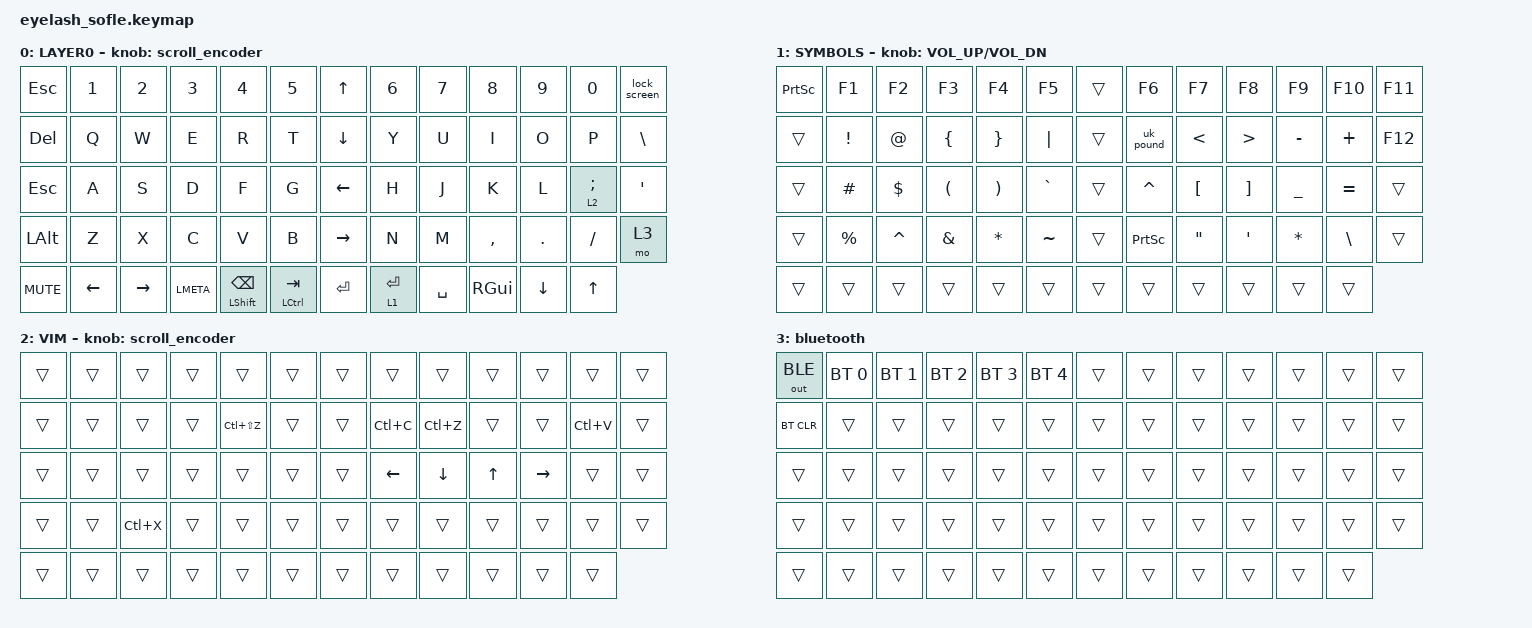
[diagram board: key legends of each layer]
#define ZMK_POINTING_DEFAULT_MOVE_VAL 1200  // 600
#define ZMK_POINTING_DEFAULT_SCRL_VAL 25   // 10

#include <input/processors.dtsi>
#include <zephyr/dt-bindings/input/input-event-codes.h>
#include <behaviors.dtsi>
#include <dt-bindings/zmk/bt.h>
#include <dt-bindings/zmk/keys.h>
#include <dt-bindings/zmk/outputs.h>
#include <dt-bindings/zmk/pointing.h>

&mmv_input_listener { input-processors = <&zip_xy_scaler 2 1>; };

&msc_input_listener { input-processors = <&zip_scroll_scaler 2 1>; };

&msc {
    acceleration-exponent = <1>;      // 0
    time-to-max-speed-ms = <100>;       // 300
    delay-ms = <0>;                   // 0
};

&mmv {
    time-to-max-speed-ms = <500>;
    acceleration-exponent = <1>;
    trigger-period-ms = <16>;
};

&soft_off { hold-time-ms = <2000>; };

&mt {
    quick-tap-ms = <300>;
    flavor = "tap-preferred";
};

/ {
    scroll_encoder: scroll_encoder {
        compatible = "zmk,behavior-sensor-rotate";
        #sensor-binding-cells = <0>;
        bindings = <&msc SCRL_DOWN>, <&msc SCRL_UP>;

        tap-ms = <100>;
    };

    behaviors {
    };

    combos {
        compatible = "zmk,combos";

        softoff {
            bindings = <&soft_off>;
            key-positions = <14 28 40>;
        };

        bootloader_left {
            bindings = <&bootloader>;
            key-positions = <53 39>;
        };

        bootloader_right {
            bindings = <&bootloader>;
            key-positions = <51 63>;
        };
    };

    macros {
        SHIFT_MCLK: SHIFT_MCLK {
            compatible = "zmk,behavior-macro";
            #binding-cells = <0>;
            bindings =
                <&macro_press>,
                <&kp LEFT_SHIFT>,
                <&macro_press>,
                <&mkp MB3>,
                <&macro_pause_for_release>,
                <&macro_release>,
                <&kp LEFT_SHIFT &mkp MB3>;

            label = "SHIFT_MCLK";
        };

        lock_screen: lock_screen {
            compatible = "zmk,behavior-macro";
            #binding-cells = <0>;
            bindings = <&kp LC(LA(L))>;
            label = "LOCK_SCREEN";
        };

        uk_pound: uk_pound {
            compatible = "zmk,behavior-macro";
            #binding-cells = <0>;
            bindings = <&kp LS(LC(U)) &kp N0 &kp N0 &kp A &kp N3 &kp ENTER>;
            label = "UK_POUND";
        };
    };

    keymap {
        compatible = "zmk,keymap";

        layer0 {
            bindings = <
&kp ESC       &kp N1    &kp N2     &kp N3     &kp N4                    &kp N5           &kp UP_ARROW     &kp N6       &kp N7     &kp N8         &kp N9    &kp N0           &lock_screen
&kp DELETE    &kp Q     &kp W      &kp E      &kp R                     &kp T            &kp DOWN_ARROW   &kp Y        &kp U      &kp I          &kp O     &kp P            &kp BSLH
&kp ESCAPE    &kp A     &kp S      &kp D      &kp F                     &kp G            &kp LEFT_ARROW   &kp H        &kp J      &kp K          &kp L     &lt 2 SEMICOLON  &kp APOS
&kp LEFT_ALT  &kp Z     &kp X      &kp C      &kp V                     &kp B            &kp RIGHT_ARROW  &kp N        &kp M      &kp COMMA      &kp DOT   &kp FSLH         &mo 3
&kp C_MUTE    &kp LEFT  &kp RIGHT  &kp LMETA  &mt LEFT_SHIFT BACKSPACE  &mt LCTRL TAB    &kp ENTER        &lt 1 ENTER  &kp SPACE  &kp RIGHT_GUI  &kp DOWN  &kp UP_ARROW
            >;

            sensor-bindings = <&scroll_encoder>;
            display-name = "LAYER0";
        };

        Symbols {
            bindings = <
&kp PRINTSCREEN  &kp F1       &kp F2       &kp F3                &kp F4                 &kp F5       &trans  &kp F6           &kp F7             &kp F8             &kp F9          &kp F10        &kp F11
&trans           &kp EXCL     &kp AT_SIGN  &kp LEFT_BRACE        &kp RIGHT_BRACE        &kp PIPE     &trans  &uk_pound        &kp LESS_THAN      &kp GREATER_THAN   &kp MINUS       &kp PLUS       &kp F12
&trans           &kp POUND    &kp DLLR     &kp LEFT_PARENTHESIS  &kp RIGHT_PARENTHESIS  &kp GRAVE    &trans  &kp CARET        &kp LEFT_BRACKET   &kp RIGHT_BRACKET  &kp UNDERSCORE  &kp EQUAL      &trans
&trans           &kp PERCENT  &kp CARET    &kp AMPERSAND         &kp ASTERISK           &kp TILDE    &trans  &kp PRINTSCREEN  &kp DOUBLE_QUOTES  &kp SQT            &kp ASTERISK    &kp BACKSLASH  &trans
&trans           &trans       &trans       &trans                &trans                 &trans       &trans  &trans           &trans             &trans             &trans          &trans
            >;

            display-name = "SYMBOLS";
            sensor-bindings = <&inc_dec_kp C_VOLUME_UP C_VOL_DN>;
        };

        VIM {
            bindings = <
&trans  &trans  &trans     &trans  &trans         &trans    &trans  &trans     &trans     &trans  &trans     &trans     &trans
&trans  &trans  &trans     &trans  &kp LC(LS(Z))  &trans    &trans  &kp LC(C)  &kp LC(Z)  &trans  &trans     &kp LC(V)  &trans
&trans  &trans  &trans     &trans  &trans         &trans    &trans  &kp LEFT   &kp DOWN   &kp UP  &kp RIGHT  &trans     &trans
&trans  &trans  &kp LC(X)  &trans  &trans         &trans    &trans  &trans     &trans     &trans  &trans     &trans     &trans
&trans  &trans  &trans     &trans  &trans         &trans    &trans  &trans     &trans     &trans  &trans     &trans
            >;

            display-name = "VIM";
            sensor-bindings = <&scroll_encoder>;
        };

        Bluetooth {
            bindings = <
&out OUT_BLE  &bt BT_SEL 0  &bt BT_SEL 1  &bt BT_SEL 2  &bt BT_SEL 3  &bt BT_SEL 4    &trans  &trans  &trans  &trans  &trans  &trans  &trans
&bt BT_CLR    &trans        &trans        &trans        &trans        &trans          &trans  &trans  &trans  &trans  &trans  &trans  &trans
&trans        &trans        &trans        &trans        &trans        &trans          &trans  &trans  &trans  &trans  &trans  &trans  &trans
&trans        &trans        &trans        &trans        &trans        &trans          &trans  &trans  &trans  &trans  &trans  &trans  &trans
&trans        &trans        &trans        &trans        &trans        &trans          &trans  &trans  &trans  &trans  &trans  &trans
            >;

            label = "bluetooth";
        };
    };
};
